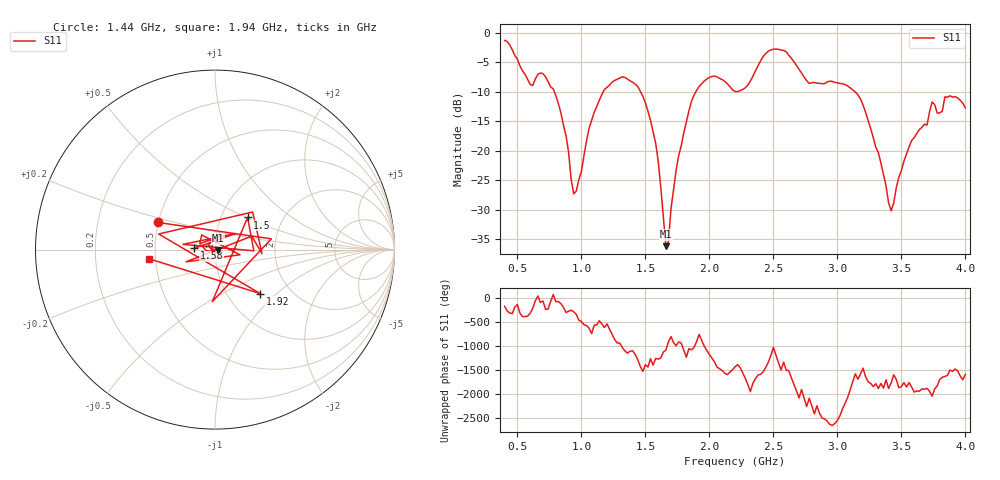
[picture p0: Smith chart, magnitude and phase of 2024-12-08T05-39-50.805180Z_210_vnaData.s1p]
!Created with skrf (http://scikit-rf.org).
# Hz S RI R 50.0
!freq ReS11 ImS11
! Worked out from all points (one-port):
!   181 points, 400 MHz to 4 GHz, reference 50 ohm
!   lowest |S11| = -36.2 dB at 1.66 GHz (marker M1), VSWR 1.03, Z = 51.5 - j0.336 ohm
!   |S11| at or under -10 dB: 788.8 MHz to 1.171 GHz (381.9 MHz wide, 39 % of centre); 1.462 GHz to 1.894 GHz (431.5 MHz wide, 25.7 % of centre); 3.139 GHz to end of sweep
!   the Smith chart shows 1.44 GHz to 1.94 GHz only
!   S11 on the Smith chart (normalised r, x): 1.44 GHz: 0.50, +0.17; 1.5 GHz: 1.33, +0.51; 1.58 GHz: 0.79, +0.01; 1.92 GHz: 1.41, -0.79; 1.94 GHz: 0.46, -0.05
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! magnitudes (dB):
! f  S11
! 400 MHz  -1.3
! 600 MHz  -8.7
! 720 MHz  -7.4
! 860 MHz  -15.7
! 940 MHz  -27.3
! 1.1 GHz  -13.5
! 1.3 GHz  -7.7
! 1.44 GHz  -9.1
! 1.5 GHz  -11.9
! 1.58 GHz  -18.7
! 1.66 GHz  -36.2
! 1.68 GHz  -35.4
! 1.7 GHz  -29.8
! 1.76 GHz  -20.8
! 1.86 GHz  -11.6
! 1.92 GHz  -9.1
! 1.94 GHz  -8.6
! 2.2 GHz  -9.9
! 2.46 GHz  -3.1
! 2.66 GHz  -4.9
! 2.78 GHz  -8.6
! 3.1 GHz  -9.3
! 3.22 GHz  -13.5
! 3.42 GHz  -30.2
! 3.56 GHz  -19.3
! 3.7 GHz  -15.6
! 3.74 GHz  -11.7
! 4 GHz  -12.7
